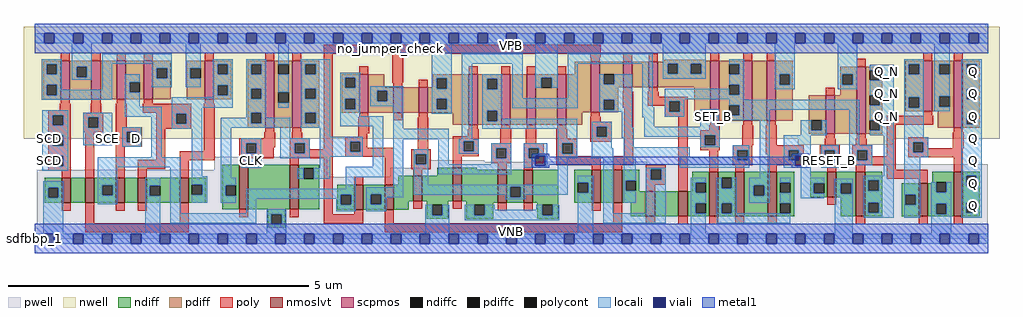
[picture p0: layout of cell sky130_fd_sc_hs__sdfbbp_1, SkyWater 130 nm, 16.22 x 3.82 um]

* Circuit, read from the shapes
.subckt sky130_fd_sc_hs__sdfbbp_1 CLK D RESET_B SCD SCE SET_B VGND VNB VPB VPWR Q Q_N
XM1 n1 SCD VGND VNB sky130_fd_pr__nfet_01v8_lvt w=0.42 l=0.15
XM2 n2 SCE n1 VNB sky130_fd_pr__nfet_01v8_lvt w=0.42 l=0.15
XM3 n3 D n2 VNB sky130_fd_pr__nfet_01v8_lvt w=0.42 l=0.15
XM4 VGND n4 n3 VNB sky130_fd_pr__nfet_01v8_lvt w=0.42 l=0.15
XM5 n4 SCE VGND VNB sky130_fd_pr__nfet_01v8_lvt w=0.42 l=0.15
XM6 VGND CLK n5 VNB sky130_fd_pr__nfet_01v8_lvt w=0.74 l=0.15
XM7 n6 n5 VGND VNB sky130_fd_pr__nfet_01v8_lvt w=0.74 l=0.15
XM8 n7 n5 n2 VNB sky130_fd_pr__nfet_01v8_lvt w=0.42 l=0.15
XM9 n8 n6 n7 VNB sky130_fd_pr__nfet_01v8_lvt w=0.42 l=0.15
XM10 VGND n9 n8 VNB sky130_fd_pr__nfet_01v8_lvt w=0.42 l=0.15
XM11 n10 SET_B VGND VNB sky130_fd_pr__nfet_01v8_lvt w=0.55 l=0.15
XM12 n9 n7 n10 VNB sky130_fd_pr__nfet_01v8_lvt w=0.55 l=0.15
XM13 n10 n11 n9 VNB sky130_fd_pr__nfet_01v8_lvt w=0.55 l=0.15
XM14 n12 n9 VGND VNB sky130_fd_pr__nfet_01v8_lvt w=0.55 l=0.15
XM15 n13 n6 n12 VNB sky130_fd_pr__nfet_01v8_lvt w=0.55 l=0.15
XM16 n14 n5 n13 VNB sky130_fd_pr__nfet_01v8_lvt w=0.42 l=0.15
XM17 VGND n15 n14 VNB sky130_fd_pr__nfet_01v8_lvt w=0.42 l=0.15
XM18 n16 SET_B VGND VNB sky130_fd_pr__nfet_01v8_lvt w=0.74 l=0.15
XM19 n15 n13 n16 VNB sky130_fd_pr__nfet_01v8_lvt w=0.74 l=0.15
XM20 n16 n11 n15 VNB sky130_fd_pr__nfet_01v8_lvt w=0.74 l=0.15
XM21 VGND RESET_B n11 VNB sky130_fd_pr__nfet_01v8_lvt w=0.42 l=0.15
XM22 Q_N n15 VGND VNB sky130_fd_pr__nfet_01v8_lvt w=0.74 l=0.15
XM23 VGND n15 n17 VNB sky130_fd_pr__nfet_01v8_lvt w=0.55 l=0.15
XM24 Q n17 VGND VNB sky130_fd_pr__nfet_01v8_lvt w=0.74 l=0.15
XM25 VPWR SCD n18 VPB sky130_fd_pr__pfet_01v8 w=0.64 l=0.15
XM26 n19 SCE VPWR VPB sky130_fd_pr__pfet_01v8 w=0.64 l=0.15
XM27 n2 D n19 VPB sky130_fd_pr__pfet_01v8 w=0.64 l=0.15
XM28 n18 n4 n2 VPB sky130_fd_pr__pfet_01v8 w=0.64 l=0.15
XM29 n4 SCE VPWR VPB sky130_fd_pr__pfet_01v8 w=0.64 l=0.15
XM30 VPWR CLK n5 VPB sky130_fd_pr__pfet_01v8 w=1.12 l=0.15
XM31 n6 n5 VPWR VPB sky130_fd_pr__pfet_01v8 w=1.12 l=0.15
XM32 n7 n6 n2 VPB sky130_fd_pr__pfet_01v8 w=0.64 l=0.15
XM33 n20 n5 n7 VPB sky130_fd_pr__pfet_01v8 w=0.42 l=0.15
XM34 VPWR n9 n20 VPB sky130_fd_pr__pfet_01v8 w=0.42 l=0.15
XM35 n9 SET_B VPWR VPB sky130_fd_pr__pfet_01v8 w=0.84 l=0.15
XM36 n21 n7 n9 VPB sky130_fd_pr__pfet_01v8 w=0.84 l=0.15
XM37 VPWR n11 n21 VPB sky130_fd_pr__pfet_01v8 w=0.84 l=0.15
XM38 n22 n9 VPWR VPB sky130_fd_pr__pfet_01v8 w=0.84 l=0.15
XM39 n13 n5 n22 VPB sky130_fd_pr__pfet_01v8 w=0.84 l=0.15
XM40 n23 n6 n13 VPB sky130_fd_pr__pfet_01v8 w=0.42 l=0.15
XM41 VPWR n15 n23 VPB sky130_fd_pr__pfet_01v8 w=0.42 l=0.15
XM42 n15 SET_B VPWR VPB sky130_fd_pr__pfet_01v8 w=1 l=0.15
XM43 n24 n13 n15 VPB sky130_fd_pr__pfet_01v8 w=1 l=0.15
XM44 VPWR n11 n24 VPB sky130_fd_pr__pfet_01v8 w=1 l=0.15
XM45 VPWR RESET_B n11 VPB sky130_fd_pr__pfet_01v8 w=0.64 l=0.15
XM46 Q_N n15 VPWR VPB sky130_fd_pr__pfet_01v8 w=1.12 l=0.15
XM47 VPWR n15 n17 VPB sky130_fd_pr__pfet_01v8 w=0.84 l=0.15
XM48 Q n17 VPWR VPB sky130_fd_pr__pfet_01v8 w=1.12 l=0.15
.ends

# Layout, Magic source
magic
tech sky130A
magscale 1 2
<< nwell >>
rect -38 332 3206 704
rect 2536 312 2852 332
<< pwell >>
rect 596 229 971 272
rect 1312 255 1494 261
rect 1312 248 2035 255
rect 1312 235 3167 248
rect 6 206 971 229
rect 1181 206 3167 235
rect 6 49 3167 206
rect 0 0 3168 49
<< scpmos >>
rect 86 464 116 592
rect 188 464 218 592
rect 272 464 302 592
rect 362 464 392 592
rect 564 464 594 592
rect 766 368 796 592
rect 856 368 886 592
rect 1078 419 1108 547
rect 1191 419 1221 503
rect 1275 419 1305 503
rect 1442 379 1472 547
rect 1550 379 1580 547
rect 1634 379 1664 547
rect 1736 379 1766 547
rect 1848 420 1878 588
rect 1956 504 1986 588
rect 2040 504 2070 588
rect 2244 392 2274 592
rect 2354 392 2384 592
rect 2432 392 2462 592
rect 2628 348 2658 476
rect 2731 348 2761 572
rect 2952 424 2982 592
rect 3054 368 3084 592
<< nmoslvt >>
rect 89 119 119 203
rect 167 119 197 203
rect 269 119 299 203
rect 341 119 371 203
rect 481 119 511 203
rect 679 98 709 246
rect 847 98 877 246
rect 1062 96 1092 180
rect 1162 96 1192 180
rect 1257 125 1287 209
rect 1388 125 1418 235
rect 1539 119 1569 229
rect 1625 119 1655 229
rect 1850 119 1880 229
rect 1922 119 1952 229
rect 2031 74 2061 158
rect 2139 74 2169 158
rect 2241 74 2271 222
rect 2327 74 2357 222
rect 2435 74 2465 222
rect 2634 138 2664 222
rect 2729 74 2759 222
rect 2938 74 2968 184
rect 3054 74 3084 222
<< ndiff >>
rect 32 170 89 203
rect 32 136 44 170
rect 78 136 89 170
rect 32 119 89 136
rect 119 119 167 203
rect 197 178 269 203
rect 197 144 224 178
rect 258 144 269 178
rect 197 119 269 144
rect 299 119 341 203
rect 371 176 481 203
rect 371 142 382 176
rect 416 142 481 176
rect 371 119 481 142
rect 511 180 568 203
rect 511 146 522 180
rect 556 146 568 180
rect 511 119 568 146
rect 622 177 679 246
rect 622 143 634 177
rect 668 143 679 177
rect 622 98 679 143
rect 709 98 847 246
rect 877 234 945 246
rect 877 200 893 234
rect 927 200 945 234
rect 877 98 945 200
rect 774 82 832 98
rect 774 48 786 82
rect 820 48 832 82
rect 1338 209 1388 235
rect 1207 180 1257 209
rect 1005 146 1062 180
rect 1005 112 1017 146
rect 1051 112 1062 146
rect 1005 96 1062 112
rect 1092 148 1162 180
rect 1092 114 1117 148
rect 1151 114 1162 148
rect 1092 96 1162 114
rect 1192 125 1257 180
rect 1287 125 1388 209
rect 1418 229 1468 235
rect 1418 125 1539 229
rect 1192 96 1242 125
rect 1302 112 1373 125
rect 1302 78 1320 112
rect 1354 78 1373 112
rect 1433 119 1539 125
rect 1569 172 1625 229
rect 1569 138 1580 172
rect 1614 138 1625 172
rect 1569 119 1625 138
rect 1655 119 1739 229
rect 1793 186 1850 229
rect 1793 152 1805 186
rect 1839 152 1850 186
rect 1793 119 1850 152
rect 1880 119 1922 229
rect 1952 193 2009 229
rect 1952 159 1963 193
rect 1997 159 2009 193
rect 1952 158 2009 159
rect 2184 186 2241 222
rect 2184 158 2196 186
rect 1952 119 2031 158
rect 1433 112 1524 119
rect 1302 66 1373 78
rect 1433 78 1461 112
rect 1495 78 1524 112
rect 1670 112 1739 119
rect 1433 66 1524 78
rect 1670 78 1687 112
rect 1721 78 1739 112
rect 1670 66 1739 78
rect 1981 74 2031 119
rect 2061 74 2139 158
rect 2169 152 2196 158
rect 2230 152 2241 186
rect 2169 118 2241 152
rect 2169 84 2196 118
rect 2230 84 2241 118
rect 2169 74 2241 84
rect 2271 202 2327 222
rect 2271 168 2282 202
rect 2316 168 2327 202
rect 2271 118 2327 168
rect 2271 84 2282 118
rect 2316 84 2327 118
rect 2271 74 2327 84
rect 2357 177 2435 222
rect 2357 143 2390 177
rect 2424 143 2435 177
rect 2357 74 2435 143
rect 2465 186 2523 222
rect 2465 152 2477 186
rect 2511 152 2523 186
rect 2465 118 2523 152
rect 2577 185 2634 222
rect 2577 151 2589 185
rect 2623 151 2634 185
rect 2577 138 2634 151
rect 2664 184 2729 222
rect 2664 150 2679 184
rect 2713 150 2729 184
rect 2664 138 2729 150
rect 2465 84 2477 118
rect 2511 84 2523 118
rect 2465 74 2523 84
rect 2679 74 2729 138
rect 2759 194 2816 222
rect 2759 160 2770 194
rect 2804 160 2816 194
rect 2983 188 3054 222
rect 2983 184 2995 188
rect 2759 120 2816 160
rect 2759 86 2770 120
rect 2804 86 2816 120
rect 2759 74 2816 86
rect 2881 146 2938 184
rect 2881 112 2893 146
rect 2927 112 2938 146
rect 2881 74 2938 112
rect 2968 154 2995 184
rect 3029 154 3054 188
rect 2968 116 3054 154
rect 2968 82 2995 116
rect 3029 82 3054 116
rect 2968 74 3054 82
rect 3084 210 3141 222
rect 3084 176 3095 210
rect 3129 176 3141 210
rect 3084 120 3141 176
rect 3084 86 3095 120
rect 3129 86 3141 120
rect 3084 74 3141 86
rect 774 36 832 48
<< pdiff >>
rect 27 580 86 592
rect 27 546 39 580
rect 73 546 86 580
rect 27 511 86 546
rect 27 477 39 511
rect 73 477 86 511
rect 27 464 86 477
rect 116 571 188 592
rect 116 537 139 571
rect 173 537 188 571
rect 116 464 188 537
rect 218 464 272 592
rect 302 520 362 592
rect 302 486 315 520
rect 349 486 362 520
rect 302 464 362 486
rect 392 567 451 592
rect 392 533 405 567
rect 439 533 451 567
rect 392 464 451 533
rect 505 567 564 592
rect 505 533 517 567
rect 551 533 564 567
rect 505 464 564 533
rect 594 580 653 592
rect 594 546 607 580
rect 641 546 653 580
rect 594 510 653 546
rect 594 476 607 510
rect 641 476 653 510
rect 594 464 653 476
rect 707 580 766 592
rect 707 546 719 580
rect 753 546 766 580
rect 707 499 766 546
rect 707 465 719 499
rect 753 465 766 499
rect 707 418 766 465
rect 707 384 719 418
rect 753 384 766 418
rect 707 368 766 384
rect 796 580 856 592
rect 796 546 809 580
rect 843 546 856 580
rect 796 486 856 546
rect 796 452 809 486
rect 843 452 856 486
rect 796 368 856 452
rect 886 580 945 592
rect 886 546 899 580
rect 933 546 945 580
rect 886 499 945 546
rect 886 465 899 499
rect 933 465 945 499
rect 886 418 945 465
rect 886 384 899 418
rect 933 384 945 418
rect 886 368 945 384
rect 1019 535 1078 547
rect 1019 501 1031 535
rect 1065 501 1078 535
rect 1019 465 1078 501
rect 1019 431 1031 465
rect 1065 431 1078 465
rect 1019 419 1078 431
rect 1108 503 1161 547
rect 2091 592 2226 594
rect 2091 588 2244 592
rect 1795 547 1848 588
rect 1323 533 1442 547
rect 1323 503 1335 533
rect 1108 491 1191 503
rect 1108 457 1137 491
rect 1171 457 1191 491
rect 1108 419 1191 457
rect 1221 419 1275 503
rect 1305 499 1335 503
rect 1369 499 1442 533
rect 1305 465 1442 499
rect 1305 431 1335 465
rect 1369 431 1442 465
rect 1305 419 1442 431
rect 1389 379 1442 419
rect 1472 531 1550 547
rect 1472 497 1503 531
rect 1537 497 1550 531
rect 1472 425 1550 497
rect 1472 391 1503 425
rect 1537 391 1550 425
rect 1472 379 1550 391
rect 1580 379 1634 547
rect 1664 535 1736 547
rect 1664 501 1683 535
rect 1717 501 1736 535
rect 1664 379 1736 501
rect 1766 420 1848 547
rect 1878 547 1956 588
rect 1878 513 1891 547
rect 1925 513 1956 547
rect 1878 504 1956 513
rect 1986 504 2040 588
rect 2070 582 2244 588
rect 2070 548 2103 582
rect 2137 548 2180 582
rect 2214 548 2244 582
rect 2070 504 2244 548
rect 1878 462 1938 504
rect 1878 428 1891 462
rect 1925 428 1938 462
rect 1878 420 1938 428
rect 1766 379 1819 420
rect 2191 392 2244 504
rect 2274 580 2354 592
rect 2274 546 2307 580
rect 2341 546 2354 580
rect 2274 512 2354 546
rect 2274 478 2307 512
rect 2341 478 2354 512
rect 2274 444 2354 478
rect 2274 410 2307 444
rect 2341 410 2354 444
rect 2274 392 2354 410
rect 2384 392 2432 592
rect 2462 546 2518 592
rect 2893 580 2952 592
rect 2462 512 2475 546
rect 2509 512 2518 546
rect 2462 392 2518 512
rect 2676 546 2731 572
rect 2676 512 2684 546
rect 2718 512 2731 546
rect 2676 476 2731 512
rect 2572 394 2628 476
rect 2572 360 2581 394
rect 2615 360 2628 394
rect 2572 348 2628 360
rect 2658 348 2731 476
rect 2761 560 2816 572
rect 2761 526 2774 560
rect 2808 526 2816 560
rect 2761 477 2816 526
rect 2761 443 2774 477
rect 2808 443 2816 477
rect 2761 394 2816 443
rect 2893 546 2905 580
rect 2939 546 2952 580
rect 2893 470 2952 546
rect 2893 436 2905 470
rect 2939 436 2952 470
rect 2893 424 2952 436
rect 2982 580 3054 592
rect 2982 546 3006 580
rect 3040 546 3054 580
rect 2982 473 3054 546
rect 2982 439 3006 473
rect 3040 439 3054 473
rect 2982 424 3054 439
rect 2761 360 2774 394
rect 2808 360 2816 394
rect 2761 348 2816 360
rect 3001 368 3054 424
rect 3084 580 3141 592
rect 3084 546 3097 580
rect 3131 546 3141 580
rect 3084 497 3141 546
rect 3084 463 3097 497
rect 3131 463 3141 497
rect 3084 414 3141 463
rect 3084 380 3097 414
rect 3131 380 3141 414
rect 3084 368 3141 380
<< ndiffc >>
rect 44 136 78 170
rect 224 144 258 178
rect 382 142 416 176
rect 522 146 556 180
rect 634 143 668 177
rect 893 200 927 234
rect 786 48 820 82
rect 1017 112 1051 146
rect 1117 114 1151 148
rect 1320 78 1354 112
rect 1580 138 1614 172
rect 1805 152 1839 186
rect 1963 159 1997 193
rect 1461 78 1495 112
rect 1687 78 1721 112
rect 2196 152 2230 186
rect 2196 84 2230 118
rect 2282 168 2316 202
rect 2282 84 2316 118
rect 2390 143 2424 177
rect 2477 152 2511 186
rect 2589 151 2623 185
rect 2679 150 2713 184
rect 2477 84 2511 118
rect 2770 160 2804 194
rect 2770 86 2804 120
rect 2893 112 2927 146
rect 2995 154 3029 188
rect 2995 82 3029 116
rect 3095 176 3129 210
rect 3095 86 3129 120
<< pdiffc >>
rect 39 546 73 580
rect 39 477 73 511
rect 139 537 173 571
rect 315 486 349 520
rect 405 533 439 567
rect 517 533 551 567
rect 607 546 641 580
rect 607 476 641 510
rect 719 546 753 580
rect 719 465 753 499
rect 719 384 753 418
rect 809 546 843 580
rect 809 452 843 486
rect 899 546 933 580
rect 899 465 933 499
rect 899 384 933 418
rect 1031 501 1065 535
rect 1031 431 1065 465
rect 1137 457 1171 491
rect 1335 499 1369 533
rect 1335 431 1369 465
rect 1503 497 1537 531
rect 1503 391 1537 425
rect 1683 501 1717 535
rect 1891 513 1925 547
rect 2103 548 2137 582
rect 2180 548 2214 582
rect 1891 428 1925 462
rect 2307 546 2341 580
rect 2307 478 2341 512
rect 2307 410 2341 444
rect 2475 512 2509 546
rect 2684 512 2718 546
rect 2581 360 2615 394
rect 2774 526 2808 560
rect 2774 443 2808 477
rect 2905 546 2939 580
rect 2905 436 2939 470
rect 3006 546 3040 580
rect 3006 439 3040 473
rect 2774 360 2808 394
rect 3097 546 3131 580
rect 3097 463 3131 497
rect 3097 380 3131 414
<< poly >>
rect 86 592 116 618
rect 188 592 218 618
rect 272 592 302 618
rect 362 592 392 618
rect 564 592 594 618
rect 766 592 796 618
rect 856 592 886 618
rect 960 615 1881 645
rect 86 449 116 464
rect 188 449 218 464
rect 272 449 302 464
rect 362 449 392 464
rect 564 449 594 464
rect 83 427 119 449
rect 44 411 119 427
rect 185 419 221 449
rect 44 377 60 411
rect 94 377 119 411
rect 44 343 119 377
rect 161 403 227 419
rect 161 369 177 403
rect 211 369 227 403
rect 161 353 227 369
rect 269 371 305 449
rect 359 419 519 449
rect 403 416 519 419
rect 403 382 469 416
rect 503 382 519 416
rect 269 355 355 371
rect 44 309 60 343
rect 94 309 119 343
rect 44 275 119 309
rect 44 241 60 275
rect 94 241 119 275
rect 44 225 119 241
rect 89 203 119 225
rect 167 203 197 353
rect 269 321 305 355
rect 339 321 355 355
rect 269 305 355 321
rect 403 366 519 382
rect 269 203 299 305
rect 403 263 433 366
rect 561 291 597 449
rect 766 353 796 368
rect 856 353 886 368
rect 763 334 799 353
rect 853 334 889 353
rect 341 233 433 263
rect 481 261 597 291
rect 679 318 799 334
rect 679 284 702 318
rect 736 304 799 318
rect 847 318 913 334
rect 736 284 793 304
rect 679 268 793 284
rect 847 284 863 318
rect 897 298 913 318
rect 960 298 990 615
rect 1078 547 1108 573
rect 1188 518 1224 615
rect 1845 603 1881 615
rect 1848 588 1878 603
rect 1956 588 1986 614
rect 2040 588 2070 614
rect 2244 592 2274 618
rect 2354 592 2384 618
rect 2432 592 2462 618
rect 1442 547 1472 573
rect 1550 547 1580 573
rect 1634 547 1664 573
rect 1736 547 1766 573
rect 1191 503 1221 518
rect 1275 503 1305 529
rect 1078 404 1108 419
rect 1075 351 1111 404
rect 1191 393 1221 419
rect 1275 404 1305 419
rect 1075 339 1105 351
rect 897 284 990 298
rect 847 268 990 284
rect 1032 323 1105 339
rect 1032 289 1048 323
rect 1082 303 1105 323
rect 1082 289 1192 303
rect 1272 297 1308 404
rect 1956 489 1986 504
rect 2040 489 2070 504
rect 1953 436 1989 489
rect 2037 472 2073 489
rect 2037 456 2169 472
rect 2037 442 2109 456
rect 1848 405 1878 420
rect 1845 388 1881 405
rect 1442 364 1472 379
rect 1550 364 1580 379
rect 1634 364 1664 379
rect 1736 364 1766 379
rect 1845 372 1917 388
rect 1439 340 1475 364
rect 1388 324 1475 340
rect 1032 273 1192 289
rect 341 203 371 233
rect 481 203 511 261
rect 679 246 709 268
rect 847 246 877 268
rect 89 93 119 119
rect 167 51 197 119
rect 269 93 299 119
rect 341 93 371 119
rect 481 51 511 119
rect 679 72 709 98
rect 167 21 511 51
rect 847 72 877 98
rect 960 81 990 268
rect 1062 180 1092 206
rect 1162 180 1192 273
rect 1250 281 1316 297
rect 1250 247 1266 281
rect 1300 247 1316 281
rect 1250 231 1316 247
rect 1388 290 1425 324
rect 1459 290 1475 324
rect 1547 317 1583 364
rect 1631 317 1667 364
rect 1733 333 1769 364
rect 1845 338 1867 372
rect 1901 338 1917 372
rect 1733 317 1803 333
rect 1845 322 1917 338
rect 1388 274 1475 290
rect 1517 301 1583 317
rect 1388 235 1418 274
rect 1517 267 1533 301
rect 1567 267 1583 301
rect 1517 251 1583 267
rect 1625 301 1691 317
rect 1625 267 1641 301
rect 1675 267 1691 301
rect 1625 251 1691 267
rect 1733 283 1753 317
rect 1787 283 1803 317
rect 1733 274 1803 283
rect 1959 274 1989 436
rect 2093 422 2109 442
rect 2143 422 2169 456
rect 2093 406 2169 422
rect 1257 209 1287 231
rect 1539 229 1569 251
rect 1625 229 1655 251
rect 1733 244 1880 274
rect 1850 229 1880 244
rect 1922 244 1989 274
rect 1922 229 1952 244
rect 2031 230 2097 246
rect 1257 99 1287 125
rect 1062 81 1092 96
rect 960 51 1092 81
rect 1162 51 1192 96
rect 1388 99 1418 125
rect 2031 196 2047 230
rect 2081 196 2097 230
rect 2031 180 2097 196
rect 2031 158 2061 180
rect 2139 158 2169 406
rect 2731 572 2761 598
rect 2952 592 2982 618
rect 3054 592 3084 618
rect 2628 476 2658 502
rect 2244 377 2274 392
rect 2354 377 2384 392
rect 2432 377 2462 392
rect 2241 360 2277 377
rect 2211 344 2277 360
rect 2211 310 2227 344
rect 2261 310 2277 344
rect 2351 310 2387 377
rect 2429 310 2465 377
rect 2952 409 2982 424
rect 2831 379 2985 409
rect 2628 333 2658 348
rect 2731 333 2761 348
rect 2625 310 2661 333
rect 2728 310 2764 333
rect 2211 294 2277 310
rect 2319 294 2385 310
rect 2241 222 2271 294
rect 2319 260 2335 294
rect 2369 260 2385 294
rect 2429 294 2555 310
rect 2429 280 2505 294
rect 2319 244 2385 260
rect 2435 260 2505 280
rect 2539 260 2555 294
rect 2435 244 2555 260
rect 2609 294 2675 310
rect 2609 260 2625 294
rect 2659 260 2675 294
rect 2609 244 2675 260
rect 2717 294 2783 310
rect 2717 260 2733 294
rect 2767 274 2783 294
rect 2831 274 2861 379
rect 3054 353 3084 368
rect 2767 260 2861 274
rect 2903 321 2969 337
rect 2903 287 2919 321
rect 2953 301 2969 321
rect 3051 301 3087 353
rect 2953 287 3084 301
rect 2903 271 3084 287
rect 2717 244 2861 260
rect 2327 222 2357 244
rect 2435 222 2465 244
rect 2634 222 2664 244
rect 2729 222 2759 244
rect 2831 229 2861 244
rect 1539 93 1569 119
rect 1625 93 1655 119
rect 1850 93 1880 119
rect 1922 51 1952 119
rect 2634 112 2664 138
rect 2831 199 2968 229
rect 3054 222 3084 271
rect 2938 184 2968 199
rect 1162 21 1952 51
rect 2031 48 2061 74
rect 2139 48 2169 74
rect 2241 48 2271 74
rect 2327 48 2357 74
rect 2435 48 2465 74
rect 2729 48 2759 74
rect 2938 48 2968 74
rect 3054 48 3084 74
<< polycont >>
rect 60 377 94 411
rect 177 369 211 403
rect 469 382 503 416
rect 60 309 94 343
rect 60 241 94 275
rect 305 321 339 355
rect 702 284 736 318
rect 863 284 897 318
rect 1048 289 1082 323
rect 1266 247 1300 281
rect 1425 290 1459 324
rect 1867 338 1901 372
rect 1533 267 1567 301
rect 1641 267 1675 301
rect 1753 283 1787 317
rect 2109 422 2143 456
rect 2047 196 2081 230
rect 2227 310 2261 344
rect 2335 260 2369 294
rect 2505 260 2539 294
rect 2625 260 2659 294
rect 2733 260 2767 294
rect 2919 287 2953 321
<< locali >>
rect 0 649 31 683
rect 65 649 127 683
rect 161 649 223 683
rect 257 649 319 683
rect 353 649 415 683
rect 449 649 511 683
rect 545 649 607 683
rect 641 649 703 683
rect 737 649 799 683
rect 833 649 895 683
rect 929 649 991 683
rect 1025 649 1087 683
rect 1121 649 1183 683
rect 1217 649 1279 683
rect 1313 649 1375 683
rect 1409 649 1471 683
rect 1505 649 1567 683
rect 1601 649 1663 683
rect 1697 649 1759 683
rect 1793 649 1855 683
rect 1889 649 1951 683
rect 1985 649 2047 683
rect 2081 649 2143 683
rect 2177 649 2239 683
rect 2273 649 2335 683
rect 2369 649 2431 683
rect 2465 649 2527 683
rect 2561 649 2623 683
rect 2657 649 2719 683
rect 2753 649 2815 683
rect 2849 649 2911 683
rect 2945 649 3007 683
rect 3041 649 3103 683
rect 3137 649 3168 683
rect 23 580 89 596
rect 23 546 39 580
rect 73 546 89 580
rect 23 511 89 546
rect 123 571 189 649
rect 123 537 139 571
rect 173 537 189 571
rect 123 529 189 537
rect 223 581 455 615
rect 23 477 39 511
rect 73 495 89 511
rect 223 495 257 581
rect 389 567 455 581
rect 73 477 257 495
rect 23 461 257 477
rect 299 520 349 547
rect 299 486 315 520
rect 389 533 405 567
rect 439 533 455 567
rect 389 504 455 533
rect 501 567 551 649
rect 501 533 517 567
rect 501 504 551 533
rect 591 580 657 596
rect 591 546 607 580
rect 641 546 657 580
rect 591 510 657 546
rect 299 439 349 486
rect 591 476 607 510
rect 641 476 657 510
rect 591 470 657 476
rect 25 411 110 427
rect 25 377 60 411
rect 94 377 110 411
rect 25 343 110 377
rect 25 309 60 343
rect 94 309 110 343
rect 161 403 257 419
rect 299 405 421 439
rect 161 369 177 403
rect 211 369 257 403
rect 161 310 257 369
rect 291 355 353 371
rect 291 321 305 355
rect 339 321 353 355
rect 25 275 110 309
rect 291 305 353 321
rect 25 241 60 275
rect 94 241 110 275
rect 387 271 421 405
rect 455 436 657 470
rect 703 580 769 596
rect 703 546 719 580
rect 753 546 769 580
rect 703 499 769 546
rect 703 465 719 499
rect 753 465 769 499
rect 455 416 556 436
rect 455 382 469 416
rect 503 382 556 416
rect 703 418 769 465
rect 809 580 843 649
rect 809 486 843 546
rect 809 436 843 452
rect 883 580 981 596
rect 883 546 899 580
rect 933 546 981 580
rect 883 499 981 546
rect 883 465 899 499
rect 933 465 981 499
rect 703 402 719 418
rect 455 366 556 382
rect 25 225 110 241
rect 208 237 484 271
rect 28 170 94 191
rect 28 136 44 170
rect 78 136 94 170
rect 28 17 94 136
rect 208 178 274 237
rect 208 144 224 178
rect 258 144 274 178
rect 208 115 274 144
rect 366 176 416 203
rect 366 142 382 176
rect 366 17 416 142
rect 450 85 484 237
rect 522 207 556 366
rect 618 384 719 402
rect 753 402 769 418
rect 883 418 981 465
rect 753 384 849 402
rect 618 368 849 384
rect 883 384 899 418
rect 933 384 981 418
rect 883 368 981 384
rect 1015 535 1081 551
rect 1015 501 1031 535
rect 1065 501 1081 535
rect 1319 533 1385 649
rect 1015 465 1081 501
rect 1015 431 1031 465
rect 1065 431 1081 465
rect 1115 491 1225 507
rect 1115 457 1137 491
rect 1171 457 1225 491
rect 1115 441 1225 457
rect 1015 407 1081 431
rect 1015 373 1157 407
rect 522 180 572 207
rect 556 146 572 180
rect 522 119 572 146
rect 618 202 652 368
rect 815 334 849 368
rect 947 339 981 368
rect 686 318 752 334
rect 686 284 702 318
rect 736 284 752 318
rect 686 236 752 284
rect 815 318 913 334
rect 815 284 863 318
rect 897 284 913 318
rect 815 268 913 284
rect 947 323 1089 339
rect 947 289 1048 323
rect 1082 289 1089 323
rect 947 273 1089 289
rect 947 234 981 273
rect 1123 239 1157 373
rect 618 177 668 202
rect 872 200 893 234
rect 927 200 981 234
rect 1033 205 1157 239
rect 1191 365 1225 441
rect 1319 499 1335 533
rect 1369 499 1385 533
rect 1319 465 1385 499
rect 1319 431 1335 465
rect 1369 431 1385 465
rect 1319 415 1385 431
rect 1419 581 1621 615
rect 1191 331 1375 365
rect 1419 331 1453 581
rect 1487 531 1553 547
rect 1487 497 1503 531
rect 1537 497 1553 531
rect 1487 425 1553 497
rect 1587 467 1621 581
rect 1663 535 1737 649
rect 1663 501 1683 535
rect 1717 501 1737 535
rect 1771 581 2053 615
rect 1771 467 1805 581
rect 1587 433 1805 467
rect 1875 513 1891 547
rect 1925 513 1985 547
rect 1875 462 1985 513
rect 1487 391 1503 425
rect 1537 399 1553 425
rect 1875 428 1891 462
rect 1925 428 1985 462
rect 1875 422 1985 428
rect 1537 391 1803 399
rect 1487 365 1803 391
rect 618 143 634 177
rect 1033 166 1067 205
rect 1191 171 1225 331
rect 618 119 668 143
rect 702 146 1067 166
rect 702 132 1017 146
rect 702 85 736 132
rect 1001 112 1017 132
rect 1051 112 1067 146
rect 450 51 736 85
rect 770 82 836 98
rect 1001 92 1067 112
rect 1101 148 1225 171
rect 1101 114 1117 148
rect 1151 137 1225 148
rect 1259 281 1307 297
rect 1259 247 1266 281
rect 1300 247 1307 281
rect 1259 180 1307 247
rect 1341 248 1375 331
rect 1409 324 1475 331
rect 1409 290 1425 324
rect 1459 290 1475 324
rect 1737 317 1803 365
rect 1409 282 1475 290
rect 1517 301 1583 317
rect 1517 267 1533 301
rect 1567 267 1583 301
rect 1517 248 1583 267
rect 1341 214 1583 248
rect 1625 301 1703 317
rect 1625 267 1641 301
rect 1675 276 1703 301
rect 1625 242 1663 267
rect 1697 242 1703 276
rect 1625 236 1703 242
rect 1737 283 1753 317
rect 1787 283 1803 317
rect 1737 267 1803 283
rect 1851 372 1917 388
rect 1851 338 1867 372
rect 1901 338 1917 372
rect 1851 301 1917 338
rect 1951 369 1985 422
rect 2019 437 2053 581
rect 2087 582 2230 649
rect 2087 548 2103 582
rect 2137 548 2180 582
rect 2214 548 2230 582
rect 2087 532 2230 548
rect 2307 580 2357 596
rect 2341 546 2357 580
rect 2307 512 2357 546
rect 2093 478 2307 498
rect 2341 478 2357 512
rect 2459 546 2525 649
rect 2459 512 2475 546
rect 2509 512 2525 546
rect 2459 496 2525 512
rect 2668 546 2734 649
rect 2889 580 2955 596
rect 2668 512 2684 546
rect 2718 512 2734 546
rect 2668 496 2734 512
rect 2774 560 2855 578
rect 2808 526 2855 560
rect 2093 464 2357 478
rect 2093 456 2159 464
rect 2019 403 2059 437
rect 2093 422 2109 456
rect 2143 422 2159 456
rect 2307 462 2357 464
rect 2774 477 2855 526
rect 2307 444 2740 462
rect 2093 406 2159 422
rect 2025 372 2059 403
rect 2211 372 2273 430
rect 2341 428 2740 444
rect 2341 410 2443 428
rect 2307 394 2443 410
rect 1951 335 1991 369
rect 2025 360 2273 372
rect 2025 344 2277 360
rect 2025 338 2227 344
rect 1957 304 1991 335
rect 2211 310 2227 338
rect 2261 310 2277 344
rect 2211 304 2277 310
rect 1851 267 1923 301
rect 1737 180 1771 267
rect 1259 172 1771 180
rect 1259 146 1580 172
rect 1564 138 1580 146
rect 1614 146 1771 172
rect 1805 186 1855 210
rect 1839 152 1855 186
rect 1614 138 1630 146
rect 1151 114 1167 137
rect 1564 131 1630 138
rect 1101 92 1167 114
rect 770 48 786 82
rect 820 48 836 82
rect 770 17 836 48
rect 1298 78 1320 112
rect 1354 78 1377 112
rect 1298 17 1377 78
rect 1429 78 1461 112
rect 1495 96 1528 112
rect 1666 96 1687 112
rect 1495 78 1687 96
rect 1721 78 1743 112
rect 1429 62 1743 78
rect 1805 17 1855 152
rect 1889 85 1923 267
rect 1957 270 2177 304
rect 2319 294 2375 310
rect 2319 270 2335 294
rect 1957 193 1997 270
rect 2143 260 2335 270
rect 2369 260 2375 294
rect 2143 236 2375 260
rect 1957 159 1963 193
rect 1957 119 1997 159
rect 2031 230 2097 236
rect 2031 196 2047 230
rect 2081 196 2097 230
rect 2409 202 2443 394
rect 2545 360 2581 394
rect 2615 360 2631 394
rect 2545 344 2631 360
rect 2489 294 2579 344
rect 2706 310 2740 428
rect 2808 443 2855 477
rect 2774 394 2855 443
rect 2808 360 2855 394
rect 2774 344 2855 360
rect 2489 260 2505 294
rect 2539 276 2579 294
rect 2489 242 2527 260
rect 2561 242 2579 276
rect 2489 236 2579 242
rect 2613 294 2672 310
rect 2613 260 2625 294
rect 2659 260 2672 294
rect 2613 236 2672 260
rect 2706 294 2783 310
rect 2706 260 2733 294
rect 2767 260 2783 294
rect 2706 244 2783 260
rect 2545 202 2579 236
rect 2821 210 2855 344
rect 2031 85 2097 196
rect 1889 51 2097 85
rect 2180 186 2230 202
rect 2180 152 2196 186
rect 2180 118 2230 152
rect 2180 84 2196 118
rect 2180 17 2230 84
rect 2266 168 2282 202
rect 2316 168 2332 202
rect 2266 118 2332 168
rect 2374 177 2443 202
rect 2374 143 2390 177
rect 2424 143 2443 177
rect 2374 119 2443 143
rect 2477 186 2511 202
rect 2266 84 2282 118
rect 2316 85 2332 118
rect 2477 118 2511 152
rect 2545 185 2623 202
rect 2545 151 2589 185
rect 2545 134 2623 151
rect 2659 184 2718 200
rect 2659 150 2679 184
rect 2713 150 2718 184
rect 2316 84 2477 85
rect 2266 51 2511 84
rect 2659 17 2718 150
rect 2754 194 2855 210
rect 2754 160 2770 194
rect 2804 160 2855 194
rect 2754 120 2855 160
rect 2754 86 2770 120
rect 2804 86 2855 120
rect 2754 70 2855 86
rect 2889 546 2905 580
rect 2939 546 2955 580
rect 2889 470 2955 546
rect 2889 436 2905 470
rect 2939 436 2955 470
rect 2889 337 2955 436
rect 2989 580 3041 649
rect 2989 546 3006 580
rect 3040 546 3041 580
rect 2989 473 3041 546
rect 2989 439 3006 473
rect 3040 439 3041 473
rect 2989 423 3041 439
rect 3079 580 3147 596
rect 3079 546 3097 580
rect 3131 546 3147 580
rect 3079 497 3147 546
rect 3079 463 3097 497
rect 3131 463 3147 497
rect 3079 414 3147 463
rect 3079 380 3097 414
rect 3131 380 3147 414
rect 2889 321 2969 337
rect 2889 287 2919 321
rect 2953 287 2969 321
rect 2889 271 2969 287
rect 2889 146 2943 271
rect 3079 210 3147 380
rect 2889 112 2893 146
rect 2927 112 2943 146
rect 2889 70 2943 112
rect 2979 154 2995 188
rect 3029 154 3045 188
rect 2979 116 3045 154
rect 2979 82 2995 116
rect 3029 82 3045 116
rect 2979 17 3045 82
rect 3079 176 3095 210
rect 3129 176 3147 210
rect 3079 120 3147 176
rect 3079 86 3095 120
rect 3129 86 3147 120
rect 3079 70 3147 86
rect 0 -17 31 17
rect 65 -17 127 17
rect 161 -17 223 17
rect 257 -17 319 17
rect 353 -17 415 17
rect 449 -17 511 17
rect 545 -17 607 17
rect 641 -17 703 17
rect 737 -17 799 17
rect 833 -17 895 17
rect 929 -17 991 17
rect 1025 -17 1087 17
rect 1121 -17 1183 17
rect 1217 -17 1279 17
rect 1313 -17 1375 17
rect 1409 -17 1471 17
rect 1505 -17 1567 17
rect 1601 -17 1663 17
rect 1697 -17 1759 17
rect 1793 -17 1855 17
rect 1889 -17 1951 17
rect 1985 -17 2047 17
rect 2081 -17 2143 17
rect 2177 -17 2239 17
rect 2273 -17 2335 17
rect 2369 -17 2431 17
rect 2465 -17 2527 17
rect 2561 -17 2623 17
rect 2657 -17 2719 17
rect 2753 -17 2815 17
rect 2849 -17 2911 17
rect 2945 -17 3007 17
rect 3041 -17 3103 17
rect 3137 -17 3168 17
<< viali >>
rect 31 649 65 683
rect 127 649 161 683
rect 223 649 257 683
rect 319 649 353 683
rect 415 649 449 683
rect 511 649 545 683
rect 607 649 641 683
rect 703 649 737 683
rect 799 649 833 683
rect 895 649 929 683
rect 991 649 1025 683
rect 1087 649 1121 683
rect 1183 649 1217 683
rect 1279 649 1313 683
rect 1375 649 1409 683
rect 1471 649 1505 683
rect 1567 649 1601 683
rect 1663 649 1697 683
rect 1759 649 1793 683
rect 1855 649 1889 683
rect 1951 649 1985 683
rect 2047 649 2081 683
rect 2143 649 2177 683
rect 2239 649 2273 683
rect 2335 649 2369 683
rect 2431 649 2465 683
rect 2527 649 2561 683
rect 2623 649 2657 683
rect 2719 649 2753 683
rect 2815 649 2849 683
rect 2911 649 2945 683
rect 3007 649 3041 683
rect 3103 649 3137 683
rect 1663 267 1675 276
rect 1675 267 1697 276
rect 1663 242 1697 267
rect 2527 260 2539 276
rect 2539 260 2561 276
rect 2527 242 2561 260
rect 31 -17 65 17
rect 127 -17 161 17
rect 223 -17 257 17
rect 319 -17 353 17
rect 415 -17 449 17
rect 511 -17 545 17
rect 607 -17 641 17
rect 703 -17 737 17
rect 799 -17 833 17
rect 895 -17 929 17
rect 991 -17 1025 17
rect 1087 -17 1121 17
rect 1183 -17 1217 17
rect 1279 -17 1313 17
rect 1375 -17 1409 17
rect 1471 -17 1505 17
rect 1567 -17 1601 17
rect 1663 -17 1697 17
rect 1759 -17 1793 17
rect 1855 -17 1889 17
rect 1951 -17 1985 17
rect 2047 -17 2081 17
rect 2143 -17 2177 17
rect 2239 -17 2273 17
rect 2335 -17 2369 17
rect 2431 -17 2465 17
rect 2527 -17 2561 17
rect 2623 -17 2657 17
rect 2719 -17 2753 17
rect 2815 -17 2849 17
rect 2911 -17 2945 17
rect 3007 -17 3041 17
rect 3103 -17 3137 17
<< metal1 >>
rect 0 683 3168 715
rect 0 649 31 683
rect 65 649 127 683
rect 161 649 223 683
rect 257 649 319 683
rect 353 649 415 683
rect 449 649 511 683
rect 545 649 607 683
rect 641 649 703 683
rect 737 649 799 683
rect 833 649 895 683
rect 929 649 991 683
rect 1025 649 1087 683
rect 1121 649 1183 683
rect 1217 649 1279 683
rect 1313 649 1375 683
rect 1409 649 1471 683
rect 1505 649 1567 683
rect 1601 649 1663 683
rect 1697 649 1759 683
rect 1793 649 1855 683
rect 1889 649 1951 683
rect 1985 649 2047 683
rect 2081 649 2143 683
rect 2177 649 2239 683
rect 2273 649 2335 683
rect 2369 649 2431 683
rect 2465 649 2527 683
rect 2561 649 2623 683
rect 2657 649 2719 683
rect 2753 649 2815 683
rect 2849 649 2911 683
rect 2945 649 3007 683
rect 3041 649 3103 683
rect 3137 649 3168 683
rect 0 617 3168 649
rect 1651 276 1709 282
rect 1651 242 1663 276
rect 1697 273 1709 276
rect 2515 276 2573 282
rect 2515 273 2527 276
rect 1697 245 2527 273
rect 1697 242 1709 245
rect 1651 236 1709 242
rect 2515 242 2527 245
rect 2561 242 2573 276
rect 2515 236 2573 242
rect 0 17 3168 49
rect 0 -17 31 17
rect 65 -17 127 17
rect 161 -17 223 17
rect 257 -17 319 17
rect 353 -17 415 17
rect 449 -17 511 17
rect 545 -17 607 17
rect 641 -17 703 17
rect 737 -17 799 17
rect 833 -17 895 17
rect 929 -17 991 17
rect 1025 -17 1087 17
rect 1121 -17 1183 17
rect 1217 -17 1279 17
rect 1313 -17 1375 17
rect 1409 -17 1471 17
rect 1505 -17 1567 17
rect 1601 -17 1663 17
rect 1697 -17 1759 17
rect 1793 -17 1855 17
rect 1889 -17 1951 17
rect 1985 -17 2047 17
rect 2081 -17 2143 17
rect 2177 -17 2239 17
rect 2273 -17 2335 17
rect 2369 -17 2431 17
rect 2465 -17 2527 17
rect 2561 -17 2623 17
rect 2657 -17 2719 17
rect 2753 -17 2815 17
rect 2849 -17 2911 17
rect 2945 -17 3007 17
rect 3041 -17 3103 17
rect 3137 -17 3168 17
rect 0 -49 3168 -17
<< labels >>
rlabel comment s 0 0 0 0 4 sdfbbp_1
flabel comment s 1181 633 1181 633 0 FreeSans 200 0 0 0 no_jumper_check
flabel pwell s 0 0 3168 49 0 FreeSans 200 0 0 0 VNB
port 8 nsew ground bidirectional
flabel nwell s 0 617 3168 666 0 FreeSans 200 0 0 0 VPB
port 9 nsew power bidirectional
flabel metal1 s 0 617 3168 666 0 FreeSans 340 0 0 0 VPWR
port 10 nsew power bidirectional
flabel metal1 s 0 0 3168 49 0 FreeSans 340 0 0 0 VGND
port 7 nsew ground bidirectional
flabel locali s 2815 390 2849 424 0 FreeSans 340 0 0 0 Q_N
port 12 nsew signal output
flabel locali s 2815 464 2849 498 0 FreeSans 340 0 0 0 Q_N
port 12 nsew signal output
flabel locali s 2815 538 2849 572 0 FreeSans 340 0 0 0 Q_N
port 12 nsew signal output
flabel locali s 2623 242 2657 276 0 FreeSans 340 0 0 0 RESET_B
port 3 nsew signal input
flabel locali s 319 316 353 350 0 FreeSans 340 0 0 0 D
port 2 nsew signal input
flabel locali s 223 316 257 350 0 FreeSans 340 0 0 0 SCE
port 5 nsew signal input
flabel locali s 31 242 65 276 0 FreeSans 340 0 0 0 SCD
port 4 nsew signal input
flabel locali s 31 316 65 350 0 FreeSans 340 0 0 0 SCD
port 4 nsew signal input
flabel locali s 3103 94 3137 128 0 FreeSans 340 0 0 0 Q
port 11 nsew signal output
flabel locali s 3103 168 3137 202 0 FreeSans 340 0 0 0 Q
port 11 nsew signal output
flabel locali s 3103 242 3137 276 0 FreeSans 340 0 0 0 Q
port 11 nsew signal output
flabel locali s 3103 316 3137 350 0 FreeSans 340 0 0 0 Q
port 11 nsew signal output
flabel locali s 3103 390 3137 424 0 FreeSans 340 0 0 0 Q
port 11 nsew signal output
flabel locali s 3103 464 3137 498 0 FreeSans 340 0 0 0 Q
port 11 nsew signal output
flabel locali s 3103 538 3137 572 0 FreeSans 340 0 0 0 Q
port 11 nsew signal output
flabel locali s 703 242 737 276 0 FreeSans 340 0 0 0 CLK
port 1 nsew clock input
flabel locali s 2239 390 2273 424 0 FreeSans 340 0 0 0 SET_B
port 6 nsew signal input
<< properties >>
string LEFsite unit
string LEFclass CORE
string FIXED_BBOX 0 0 3168 666
string GDS_FILE $PDKPATH/libs.ref/sky130_fd_sc_hs/gds/sky130_fd_sc_hs.gds
string LEFsymmetry X Y
string GDS_END 4054336
string GDS_START 4030800
<< end >>
